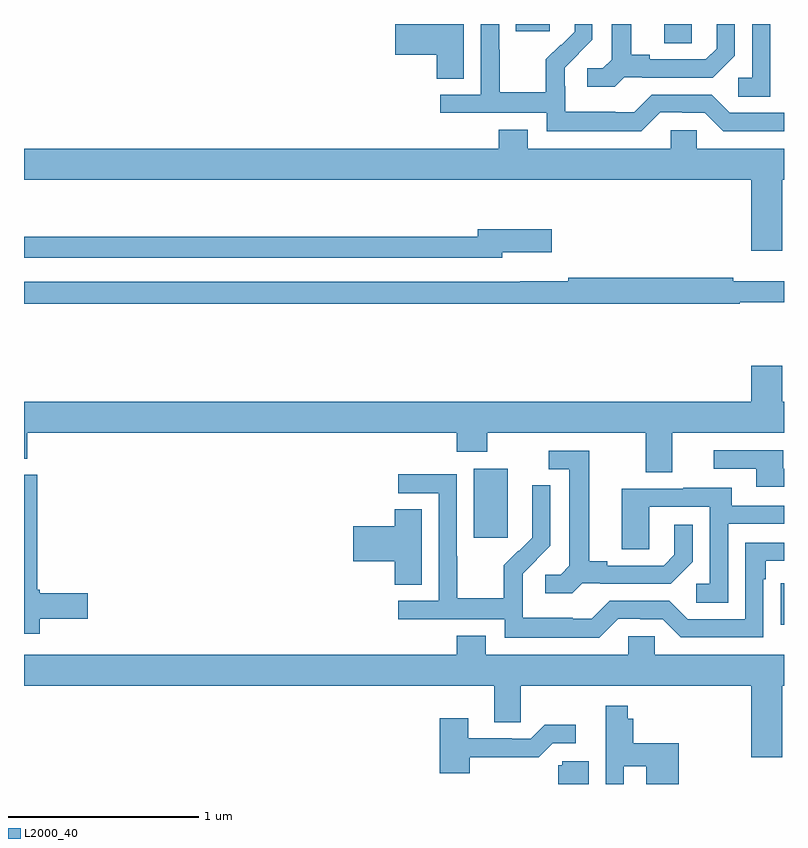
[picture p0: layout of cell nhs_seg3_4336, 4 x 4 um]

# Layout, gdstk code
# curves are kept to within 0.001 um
import gdstk
lib = gdstk.Library(unit=1e-6, precision=1e-09)
def R(c, l, rs):  # rectangles x0, y0, x1, y1
    for r in rs: c.add(gdstk.rectangle(r[:2], r[2:], *l))
def P(c, l, *ps):  # polygons
    for p in ps: c.add(gdstk.Polygon(p, *l))
L2000_40 = (2000, 40)

nhs_seg3_4336 = lib.new_cell('nhs_seg3_4336')
R(nhs_seg3_4336, L2000_40, [(344.983,701.238,345,701.456), (343.367,701.697,343.546,702.058), (344.369,704.299,344.514,704.4), (343.589,704.361,343.768,704.4)])
P(nhs_seg3_4336, L2000_40, [(344.349,703.935),(344.465,703.935),(344.465,703.932),(344.583,703.932),(344.679,703.836),(345,703.836),(345,703.932),(344.715,703.932),(344.619,704.028),(344.304,704.028),(344.211,703.935),(344.111,703.935),(344.111,703.939),(343.848,703.939),(343.848,704.073),(343.846,704.073),(343.846,704.17),(343.992,704.318),(343.992,704.4),(343.898,704.4),(343.898,704.36),(343.827,704.289),(343.824,704.292),(343.747,704.215),(343.747,704.041),(343.503,704.041),(343.503,704.264),(343.5,704.264),(343.5,704.4),(343.404,704.4),(343.404,704.028),(343.191,704.028),(343.191,703.932),(343.752,703.932),(343.752,703.835),(344.249,703.835)],
  [(344.928,704.4),(344.832,704.4),(344.832,704.118),(344.76,704.118),(344.76,704.017),(344.928,704.017)],
  [(343.315,704.4),(342.954,704.4),(342.954,704.237),(343.172,704.237),(343.172,704.113),(343.315,704.113)],
  [(344.16,704.121),(344.254,704.121),(344.254,704.118),(344.626,704.118),(344.742,704.234),(344.742,704.4),(344.645,704.4),(344.645,704.271),(344.588,704.214),(344.293,704.214),(344.293,704.237),(344.197,704.237),(344.197,704.4),(344.093,704.4),(344.093,704.213),(344.046,704.166),(343.965,704.166),(343.965,704.069),(344.108,704.069)],
  [(344.992,703.58),(345,703.58),(345,703.744),(344.541,703.744),(344.541,703.842),(344.403,703.842),(344.403,703.744),(343.651,703.744),(343.651,703.843),(343.499,703.843),(343.499,703.744),(341,703.744),(341,703.58),(344.828,703.58),(344.828,703.206),(344.992,703.206)],
  [(343.516,703.199),(343.777,703.199),(343.777,703.321),(343.388,703.321),(343.388,703.279),(341,703.279),(341,703.17),(343.516,703.17)],
  [(344.768,702.936),(345,702.936),(345,703.045),(344.732,703.045),(344.732,703.064),(343.864,703.064),(343.864,703.045),(343.612,703.045),(343.612,703.044),(341,703.044),(341,702.928),(344.768,702.928)],
  [(344.413,702.248),(345,702.248),(345,702.412),(344.992,702.412),(344.992,702.601),(344.828,702.601),(344.828,702.412),(341,702.412),(341,702.112),(341.018,702.112),(341.018,702.248),(343.277,702.248),(343.277,702.149),(343.437,702.149),(343.437,702.248),(344.273,702.248),(344.273,702.04),(344.413,702.04)],
  [(345,702.06),(344.995,702.06),(344.995,702.156),(344.631,702.156),(344.631,702.06),(344.855,702.06),(344.855,701.964),(345,701.964)],
  [(343.938,701.457),(344.032,701.457),(344.032,701.454),(344.404,701.454),(344.52,701.57),(344.52,701.764),(344.423,701.764),(344.423,701.607),(344.366,701.55),(344.071,701.55),(344.071,701.573),(343.975,701.573),(343.975,702.153),(343.761,702.153),(343.761,702.057),(343.871,702.057),(343.871,701.549),(343.824,701.502),(343.743,701.502),(343.743,701.405),(343.886,701.405)],
  [(344.127,701.271),(344.243,701.271),(344.243,701.268),(344.361,701.268),(344.457,701.172),(344.892,701.172),(344.892,701.477),(344.905,701.477),(344.905,701.574),(345,701.574),(345,701.67),(344.796,701.67),(344.796,701.268),(344.493,701.268),(344.397,701.364),(344.082,701.364),(343.989,701.271),(343.889,701.271),(343.889,701.275),(343.626,701.275),(343.626,701.409),(343.624,701.409),(343.624,701.506),(343.77,701.654),(343.77,701.972),(343.674,701.972),(343.674,701.818),(343.676,701.818),(343.676,701.696),(343.605,701.625),(343.602,701.628),(343.525,701.551),(343.525,701.377),(343.281,701.377),(343.281,701.6),(343.278,701.6),(343.278,702.03),(342.969,702.03),(342.969,701.931),(343.182,701.931),(343.182,701.364),(342.969,701.364),(342.969,701.268),(343.53,701.268),(343.53,701.171),(344.027,701.171)],
  [(341.082,701.27),(341.335,701.27),(341.335,701.405),(341.082,701.405),(341.082,701.423),(341.069,701.423),(341.069,702.027),(341,702.027),(341,701.192),(341.082,701.192)],
  [(344.706,701.769),(345,701.769),(345,701.865),(344.725,701.865),(344.725,701.959),(344.471,701.959),(344.471,701.955),(344.147,701.955),(344.147,701.635),(344.292,701.635),(344.292,701.859),(344.61,701.859),(344.61,701.454),(344.538,701.454),(344.538,701.353),(344.706,701.353)],
  [(343.093,701.846),(342.95,701.846),(342.95,701.756),(342.732,701.756),(342.732,701.573),(342.95,701.573),(342.95,701.449),(343.093,701.449)],
  [(344.992,700.916),(345,700.916),(345,701.08),(344.319,701.08),(344.319,701.178),(344.181,701.178),(344.181,701.08),(343.429,701.08),(343.429,701.179),(343.277,701.179),(343.277,701.08),(341,701.08),(341,700.916),(343.475,700.916),(343.475,700.726),(343.614,700.726),(343.614,700.916),(344.828,700.916),(344.828,700.542),(344.992,700.542)],
  [(344.157,700.493),(344.276,700.493),(344.276,700.4),(344.447,700.4),(344.447,700.615),(344.207,700.615),(344.207,700.744),(344.177,700.744),(344.177,700.813),(344.061,700.813),(344.061,700.4),(344.157,700.4)],
  [(343.347,700.542),(343.709,700.541),(343.782,700.614),(343.903,700.614),(343.903,700.711),(343.741,700.711),(343.668,700.638),(343.568,700.638),(343.568,700.641),(343.339,700.641),(343.339,700.747),(343.187,700.747),(343.187,700.457),(343.347,700.457)],
  [(343.972,700.521),(343.833,700.521),(343.833,700.5),(343.811,700.5),(343.811,700.4),(343.972,700.4)])

lib.write_gds('nhs_seg3_4336.gds')
